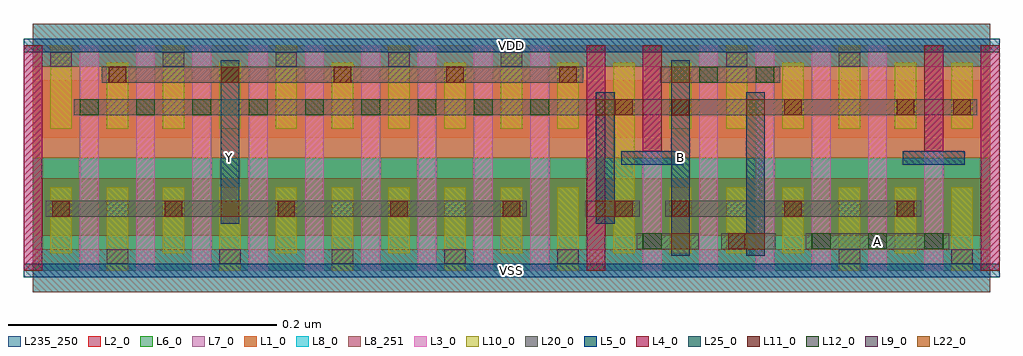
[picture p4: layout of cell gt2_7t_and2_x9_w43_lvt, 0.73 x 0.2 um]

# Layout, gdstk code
import gdstk
lib = gdstk.Library(unit=1e-6, precision=5e-10)
def R(c, l, rs):  # rectangles x0, y0, x1, y1
    for r in rs: c.add(gdstk.rectangle(r[:2], r[2:], *l))
def A(c, l, x, y, w, h, nx, ny, dx, dy):  # array of equal rectangles
    R(c, l, [(x+i*dx, y+j*dy, x+i*dx+w, y+j*dy+h) for i in range(nx) for j in range(ny)])
L1_0 = (1, 0)
L2_0 = (2, 0)
L3_0 = (3, 0)
L4_0 = (4, 0)
L5_0 = (5, 0)
L6_0 = (6, 0)
L7_0 = (7, 0)
L8_0 = (8, 0)
L8_251 = (8, 251)
L9_0 = (9, 0)
L10_0 = (10, 0)
L11_0 = (11, 0)
L12_0 = (12, 0)
L20_0 = (20, 0)
L22_0 = (22, 0)
L25_0 = (25, 0)
L235_250 = (235, 250)

gt2_7t_and2_x9_w43_lvt = lib.new_cell('gt2_7t_and2_x9_w43_lvt')
R(gt2_7t_and2_x9_w43_lvt, L1_0, [(0,0.084,0.714,0.168)])
R(gt2_7t_and2_x9_w43_lvt, L2_0, [(0,0.026,0.714,0.069), (0,0.099,0.714,0.142)])
A(gt2_7t_and2_x9_w43_lvt, L3_0, -0.007, 0, 0.014, 0.168, 18, 1, 0.042, 0)
R(gt2_7t_and2_x9_w43_lvt, L4_0, [(-0.007,0,0.007,0.168), (0.413,0,0.427,0.168), (0.707,0,0.721,0.168), (0.455,0.089,0.469,0.168), (0.665,0.089,0.679,0.168)])
R(gt2_7t_and2_x9_w43_lvt, L5_0, [(-0.007,-0.005,0.721,0.005), (0.439,0.079,0.485,0.089), (0.649,0.079,0.695,0.089), (-0.007,0.163,0.721,0.173)])
R(gt2_7t_and2_x9_w43_lvt, L6_0, [(0,0,0.714,0.084)])
R(gt2_7t_and2_x9_w43_lvt, L7_0, [(0,0.084,0.714,0.168)])
R(gt2_7t_and2_x9_w43_lvt, L8_0, [(0,-0.016,0.714,0.016), (0,0.152,0.714,0.184)])
R(gt2_7t_and2_x9_w43_lvt, L8_251, [(0,-0.016,0.714,0.016), (0,0.152,0.714,0.184)])
A(gt2_7t_and2_x9_w43_lvt, L9_0, 0.055, 0.005, 0.016, 0.011, 5, 1, 0.084, 0)
A(gt2_7t_and2_x9_w43_lvt, L9_0, 0.013, 0.152, 0.016, 0.011, 5, 1, 0.084, 0)
R(gt2_7t_and2_x9_w43_lvt, L9_0, [(0.601,0.005,0.617,0.016), (0.685,0.005,0.701,0.016), (0.517,0.152,0.533,0.163), (0.601,0.152,0.617,0.163)])
A(gt2_7t_and2_x9_w43_lvt, L10_0, 0.055, 0, 0.016, 0.062, 5, 1, 0.084, 0)
A(gt2_7t_and2_x9_w43_lvt, L10_0, 0.013, 0.013, 0.016, 0.049, 5, 1, 0.084, 0)
A(gt2_7t_and2_x9_w43_lvt, L10_0, 0.475, 0.013, 0.016, 0.049, 3, 1, 0.042, 0)
A(gt2_7t_and2_x9_w43_lvt, L10_0, 0.013, 0.106, 0.016, 0.062, 5, 1, 0.084, 0)
A(gt2_7t_and2_x9_w43_lvt, L10_0, 0.055, 0.106, 0.016, 0.049, 8, 1, 0.084, 0)
R(gt2_7t_and2_x9_w43_lvt, L10_0, [(0.601,0,0.617,0.062), (0.685,0,0.701,0.062), (0.433,0.013,0.449,0.155), (0.643,0.013,0.659,0.062), (0.517,0.106,0.533,0.168), (0.601,0.106,0.617,0.168), (0.685,0.106,0.701,0.155)])
A(gt2_7t_and2_x9_w43_lvt, L11_0, 0.0145, 0.04, 0.013, 0.012, 6, 1, 0.084, 0)
A(gt2_7t_and2_x9_w43_lvt, L11_0, 0.4765, 0.04, 0.013, 0.012, 3, 2, 0.084, 0.076)
A(gt2_7t_and2_x9_w43_lvt, L11_0, 0.0565, 0.14, 0.013, 0.012, 5, 1, 0.084, 0)
R(gt2_7t_and2_x9_w43_lvt, L11_0, [(0.5185,0.016,0.5315,0.028), (0.4345,0.116,0.4475,0.128), (0.6865,0.116,0.6995,0.128)])
A(gt2_7t_and2_x9_w43_lvt, L12_0, 0.581, 0.016, 0.014, 0.012, 3, 1, 0.042, 0)
A(gt2_7t_and2_x9_w43_lvt, L12_0, 0.035, 0.116, 0.014, 0.012, 9, 1, 0.042, 0)
R(gt2_7t_and2_x9_w43_lvt, L12_0, [(0.455,0.016,0.469,0.028), (0.497,0.14,0.511,0.152), (0.539,0.14,0.553,0.152)])
R(gt2_7t_and2_x9_w43_lvt, L20_0, [(0.4505,0.016,0.4965,0.028), (0.5135,0.016,0.554,0.028), (0.5765,0.016,0.6835,0.028), (0.0095,0.04,0.3685,0.052), (0.412,0.04,0.4525,0.052), (0.4715,0.04,0.6625,0.052), (0.0305,0.116,0.7045,0.128), (0.0515,0.14,0.4105,0.152), (0.468,0.14,0.5575,0.152)])
R(gt2_7t_and2_x9_w43_lvt, L22_0, [(0.476,0.016,0.49,0.028), (0.532,0.016,0.546,0.028), (0.14,0.04,0.154,0.052), (0.42,0.04,0.434,0.052), (0.42,0.116,0.434,0.128), (0.532,0.116,0.546,0.128), (0.14,0.14,0.154,0.152), (0.476,0.14,0.49,0.152)])
R(gt2_7t_and2_x9_w43_lvt, L25_0, [(0.476,0.011,0.49,0.157), (0.532,0.011,0.546,0.133), (0.14,0.035,0.154,0.157), (0.42,0.035,0.434,0.133)])
R(gt2_7t_and2_x9_w43_lvt, L235_250, [(0,0,0.714,0.168)])
gt2_7t_and2_x9_w43_lvt.add(gdstk.Label('VSS', (0.357,0), layer=8, texttype=251))
gt2_7t_and2_x9_w43_lvt.add(gdstk.Label('VDD', (0.357,0.168), layer=8, texttype=251))
gt2_7t_and2_x9_w43_lvt.add(gdstk.Label('A', (0.63,0.022), layer=20, texttype=251))
gt2_7t_and2_x9_w43_lvt.add(gdstk.Label('Y', (0.147,0.084), layer=25, texttype=251))
gt2_7t_and2_x9_w43_lvt.add(gdstk.Label('B', (0.483,0.084), layer=25, texttype=251))

lib.write_gds('gt2_7t_and2_x9_w43_lvt.gds')
